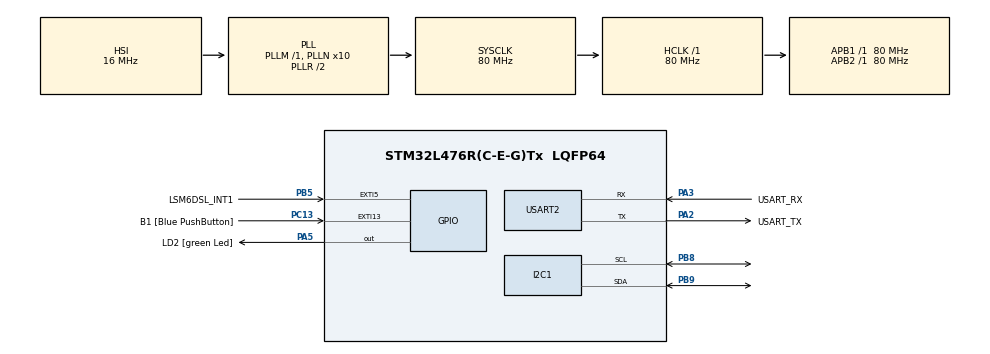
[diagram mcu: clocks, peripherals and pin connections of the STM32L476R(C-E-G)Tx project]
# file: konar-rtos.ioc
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FREERTOS.BinarySemaphores01=SemB1,Dynamic,NULL;SemDRDY,Dynamic,NULL
FREERTOS.Tasks01=blinkLD2,24,128,StartBlinkLD2,Default,NULL,Dynamic,NULL,NULL;printUART2,24,128,StartPrintUART2,Default,NULL,Dynamic,NULL,NULL;printB1,16,128,StartPrintB1,Default,NULL,Dynamic,NULL,NULL;myTask04,24,128,StartTask04,Default,NULL,Dynamic,NULL,NULL
FREERTOS.configUSE_DAEMON_TASK_STARTUP_HOOK=1
FREERTOS.configUSE_NEWLIB_REENTRANT=1
I2C1.Timing=0x10909CEC
Mcu.Family=STM32L4
Mcu.Name=STM32L476R(C-E-G)Tx
Mcu.Package=LQFP64
NVIC.EXTI15_10_IRQn=true\:5\:0\:false\:false\:true\:true\:true\:true\:true
NVIC.EXTI9_5_IRQn=true\:5\:0\:false\:false\:true\:true\:true\:true\:true
NVIC.I2C1_EV_IRQn=true\:5\:0\:false\:false\:true\:true\:true\:true\:true
NVIC.PriorityGroup=NVIC_PRIORITYGROUP_4
NVIC.TIM6_DAC_IRQn=true\:15\:0\:false\:false\:true\:false\:false\:true\:true
NVIC.TimeBase=TIM6_DAC_IRQn
NVIC.TimeBaseIP=TIM6
PA13\ (JTMS-SWDIO).GPIO_Label=TMS
PA13\ (JTMS-SWDIO).Mode=Serial_Wire
PA13\ (JTMS-SWDIO).Signal=SYS_JTMS-SWDIO
PA14\ (JTCK-SWCLK).GPIO_Label=TCK
PA14\ (JTCK-SWCLK).Mode=Serial_Wire
PA14\ (JTCK-SWCLK).Signal=SYS_JTCK-SWCLK
PA2.GPIO_Label=USART_TX
PA2.GPIO_Mode=GPIO_MODE_AF_PP
PA2.GPIO_PuPd=GPIO_NOPULL
PA2.GPIO_Speed=GPIO_SPEED_FREQ_VERY_HIGH
PA2.Mode=Asynchronous
PA2.Signal=USART2_TX
PA3.GPIO_Label=USART_RX
PA3.GPIO_Mode=GPIO_MODE_AF_PP
PA3.GPIO_PuPd=GPIO_NOPULL
PA3.GPIO_Speed=GPIO_SPEED_FREQ_VERY_HIGH
PA3.Mode=Asynchronous
PA3.Signal=USART2_RX
PA5.GPIO_Label=LD2 [green Led]
PA5.GPIO_ModeDefaultOutputPP=GPIO_MODE_OUTPUT_PP
PA5.GPIO_PuPd=GPIO_NOPULL
PA5.GPIO_Speed=GPIO_SPEED_FREQ_LOW
PA5.Signal=GPIO_Output
PB3\ (JTDO-TRACESWO).GPIO_Label=SWO
PB3\ (JTDO-TRACESWO).Signal=SYS_JTDO-SWO
PB5.GPIO_Label=LSM6DSL_INT1
PB5.Signal=GPXTI5
PB8.Mode=I2C
PB8.Signal=I2C1_SCL
PB9.Mode=I2C
PB9.Signal=I2C1_SDA
PC13.GPIO_Label=B1 [Blue PushButton]
PC13.GPIO_ModeDefaultEXTI=GPIO_MODE_IT_FALLING
PC13.GPIO_PuPd=GPIO_NOPULL
PC13.Signal=GPXTI13
PC14-OSC32_IN\ (PC14).Mode=LSE-External-Oscillator
PC14-OSC32_IN\ (PC14).Signal=RCC_OSC32_IN
PC15-OSC32_OUT\ (PC15).Mode=LSE-External-Oscillator
PC15-OSC32_OUT\ (PC15).Signal=RCC_OSC32_OUT
PH0-OSC_IN\ (PH0).Signal=RCC_OSC_IN
PH1-OSC_OUT\ (PH1).Signal=RCC_OSC_OUT
ProjectManager.HeapSize=0x200
ProjectManager.StackSize=0x400
ProjectManager.TargetToolchain=STM32CubeIDE
RCC.ADCFreq_Value=64000000
RCC.AHBFreq_Value=80000000
RCC.APB1Freq_Value=80000000
RCC.APB1TimFreq_Value=80000000
RCC.APB2Freq_Value=80000000
RCC.APB2TimFreq_Value=80000000
RCC.CortexFreq_Value=80000000
RCC.HCLKFreq_Value=80000000
RCC.HSE_VALUE=8000000
RCC.HSI_VALUE=16000000
RCC.MSI_VALUE=4000000
RCC.PLLN=10
RCC.PLLSourceVirtual=RCC_PLLSOURCE_HSI
RCC.PREFETCH_ENABLE=1
RCC.SYSCLKFreq_VALUE=80000000
RCC.SYSCLKSource=RCC_SYSCLKSOURCE_PLLCLK
RCC.USBFreq_Value=64000000
RCC.VCOOutputFreq_Value=160000000
USART2.VirtualMode-Asynchronous=VM_ASYNC
VP_FREERTOS_VS_CMSIS_V2.Mode=CMSIS_V2
VP_SYS_VS_tim6.Mode=TIM6
board=NUCLEO-L476RG

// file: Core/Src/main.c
/* USER CODE BEGIN Header */
/**
 ******************************************************************************
 * @file           : main.c
 * @brief          : Main program body
 ******************************************************************************
 * @attention
 *
 * Copyright (c) 2023 STMicroelectronics.
 * All rights reserved.
 *
 * This software is licensed under terms that can be found in the LICENSE file
 * in the root directory of this software component.
 * If no LICENSE file comes with this software, it is provided AS-IS.
 *
 ******************************************************************************
 */
/* USER CODE END Header */
#include "main.h"
#include "cmsis_os.h"

/* USER CODE BEGIN Includes */
#include <stdio.h>
#include <string.h>
#include "lsm6dsl_register_map.h"
/* USER CODE END Includes */

I2C_HandleTypeDef hi2c1;

UART_HandleTypeDef huart2;

/* Definitions for blinkLD2 */
osThreadId_t blinkLD2Handle;
const osThreadAttr_t blinkLD2_attributes = {
  .name = "blinkLD2",
  .stack_size = 128 * 4,
  .priority = (osPriority_t) osPriorityNormal,
};
/* Definitions for printUART2 */
osThreadId_t printUART2Handle;
const osThreadAttr_t printUART2_attributes = {
  .name = "printUART2",
  .stack_size = 128 * 4,
  .priority = (osPriority_t) osPriorityNormal,
};
/* Definitions for printB1 */
osThreadId_t printB1Handle;
const osThreadAttr_t printB1_attributes = {
  .name = "printB1",
  .stack_size = 128 * 4,
  .priority = (osPriority_t) osPriorityBelowNormal,
};
/* Definitions for myTask04 */
osThreadId_t myTask04Handle;
const osThreadAttr_t myTask04_attributes = {
  .name = "myTask04",
  .stack_size = 128 * 4,
  .priority = (osPriority_t) osPriorityNormal,
};
/* Definitions for SemB1 */
osSemaphoreId_t SemB1Handle;
const osSemaphoreAttr_t SemB1_attributes = {
  .name = "SemB1"
};
/* Definitions for SemDRDY */
osSemaphoreId_t SemDRDYHandle;
const osSemaphoreAttr_t SemDRDY_attributes = {
  .name = "SemDRDY"
};
/* USER CODE BEGIN PV */
const uint8_t lsm6dls_address = 0b11010110;
const uint8_t bttn_prssd_mssg[] = "BTTN PRSSD\r\n";

uint8_t acc_data[6] = { 0 };
int16_t acc_x = 0;
int16_t acc_y = 0;
int16_t acc_z = 0;

uint8_t sensor_str[17];
/* USER CODE END PV */

void SystemClock_Config(void);
static void MX_GPIO_Init(void);
static void MX_USART2_UART_Init(void);
static void MX_I2C1_Init(void);
void StartBlinkLD2(void *argument);
void StartPrintUART2(void *argument);
void StartPrintB1(void *argument);
void StartTask04(void *argument);

int main(void)
{

  /* MCU Configuration--------------------------------------------------------*/

  /* Reset of all peripherals, Initializes the Flash interface and the Systick. */
  HAL_Init();

  /* Configure the system clock */
  SystemClock_Config();

  /* Initialize all configured peripherals */
  MX_GPIO_Init();
  MX_USART2_UART_Init();
  MX_I2C1_Init();

  /* Init scheduler */
  osKernelInitialize();

  /* Create the semaphores(s) */
  /* creation of SemB1 */
  SemB1Handle = osSemaphoreNew(1, 1, &SemB1_attributes);

  /* creation of SemDRDY */
  SemDRDYHandle = osSemaphoreNew(1, 1, &SemDRDY_attributes);

  /* Create the thread(s) */
  /* creation of blinkLD2 */
  blinkLD2Handle = osThreadNew(StartBlinkLD2, NULL, &blinkLD2_attributes);

  /* creation of printUART2 */
  printUART2Handle = osThreadNew(StartPrintUART2, NULL, &printUART2_attributes);

  /* creation of printB1 */
  printB1Handle = osThreadNew(StartPrintB1, NULL, &printB1_attributes);

  /* creation of myTask04 */
  myTask04Handle = osThreadNew(StartTask04, NULL, &myTask04_attributes);

  /* Start scheduler */
  osKernelStart();
  /* We should never get here as control is now taken by the scheduler */
  /* Infinite loop */
	while (1) {

	}
}

void SystemClock_Config(void)
{
  RCC_OscInitTypeDef RCC_OscInitStruct = {0};
  RCC_ClkInitTypeDef RCC_ClkInitStruct = {0};

  /** Configure the main internal regulator output voltage
  */
  if (HAL_PWREx_ControlVoltageScaling(PWR_REGULATOR_VOLTAGE_SCALE1) != HAL_OK)
  {
    Error_Handler();
  }

  /** Initializes the RCC Oscillators according to the specified parameters
  * in the RCC_OscInitTypeDef structure.
  */
  RCC_OscInitStruct.OscillatorType = RCC_OSCILLATORTYPE_HSI;
  RCC_OscInitStruct.HSIState = RCC_HSI_ON;
  RCC_OscInitStruct.HSICalibrationValue = RCC_HSICALIBRATION_DEFAULT;
  RCC_OscInitStruct.PLL.PLLState = RCC_PLL_ON;
  RCC_OscInitStruct.PLL.PLLSource = RCC_PLLSOURCE_HSI;
  RCC_OscInitStruct.PLL.PLLM = 1;
  RCC_OscInitStruct.PLL.PLLN = 10;
  RCC_OscInitStruct.PLL.PLLP = RCC_PLLP_DIV7;
  RCC_OscInitStruct.PLL.PLLQ = RCC_PLLQ_DIV2;
  RCC_OscInitStruct.PLL.PLLR = RCC_PLLR_DIV2;
  if (HAL_RCC_OscConfig(&RCC_OscInitStruct) != HAL_OK)
  {
    Error_Handler();
  }

  /** Initializes the CPU, AHB and APB buses clocks
  */
  RCC_ClkInitStruct.ClockType = RCC_CLOCKTYPE_HCLK|RCC_CLOCKTYPE_SYSCLK
                              |RCC_CLOCKTYPE_PCLK1|RCC_CLOCKTYPE_PCLK2;
  RCC_ClkInitStruct.SYSCLKSource = RCC_SYSCLKSOURCE_PLLCLK;
  RCC_ClkInitStruct.AHBCLKDivider = RCC_SYSCLK_DIV1;
  RCC_ClkInitStruct.APB1CLKDivider = RCC_HCLK_DIV1;
  RCC_ClkInitStruct.APB2CLKDivider = RCC_HCLK_DIV1;

  if (HAL_RCC_ClockConfig(&RCC_ClkInitStruct, FLASH_LATENCY_4) != HAL_OK)
  {
    Error_Handler();
  }
}

static void MX_I2C1_Init(void)
{

  hi2c1.Instance = I2C1;
  hi2c1.Init.Timing = 0x10909CEC;
  hi2c1.Init.OwnAddress1 = 0;
  hi2c1.Init.AddressingMode = I2C_ADDRESSINGMODE_7BIT;
  hi2c1.Init.DualAddressMode = I2C_DUALADDRESS_DISABLE;
  hi2c1.Init.OwnAddress2 = 0;
  hi2c1.Init.OwnAddress2Masks = I2C_OA2_NOMASK;
  hi2c1.Init.GeneralCallMode = I2C_GENERALCALL_DISABLE;
  hi2c1.Init.NoStretchMode = I2C_NOSTRETCH_DISABLE;
  if (HAL_I2C_Init(&hi2c1) != HAL_OK)
  {
    Error_Handler();
  }

  /** Configure Analogue filter
  */
  if (HAL_I2CEx_ConfigAnalogFilter(&hi2c1, I2C_ANALOGFILTER_ENABLE) != HAL_OK)
  {
    Error_Handler();
  }

  /** Configure Digital filter
  */
  if (HAL_I2CEx_ConfigDigitalFilter(&hi2c1, 0) != HAL_OK)
  {
    Error_Handler();
  }

}

static void MX_USART2_UART_Init(void)
{

  huart2.Instance = USART2;
  huart2.Init.BaudRate = 115200;
  huart2.Init.WordLength = UART_WORDLENGTH_8B;
  huart2.Init.StopBits = UART_STOPBITS_1;
  huart2.Init.Parity = UART_PARITY_NONE;
  huart2.Init.Mode = UART_MODE_TX_RX;
  huart2.Init.HwFlowCtl = UART_HWCONTROL_NONE;
  huart2.Init.OverSampling = UART_OVERSAMPLING_16;
  huart2.Init.OneBitSampling = UART_ONE_BIT_SAMPLE_DISABLE;
  huart2.AdvancedInit.AdvFeatureInit = UART_ADVFEATURE_NO_INIT;
  if (HAL_UART_Init(&huart2) != HAL_OK)
  {
    Error_Handler();
  }

}

static void MX_GPIO_Init(void)
{
  GPIO_InitTypeDef GPIO_InitStruct = {0};

  /* GPIO Ports Clock Enable */
  __HAL_RCC_GPIOC_CLK_ENABLE();
  __HAL_RCC_GPIOH_CLK_ENABLE();
  __HAL_RCC_GPIOA_CLK_ENABLE();
  __HAL_RCC_GPIOB_CLK_ENABLE();

  /*Configure GPIO pin Output Level */
  HAL_GPIO_WritePin(LD2_GPIO_Port, LD2_Pin, GPIO_PIN_RESET);

  /*Configure GPIO pin : B1_Pin */
  GPIO_InitStruct.Pin = B1_Pin;
  GPIO_InitStruct.Mode = GPIO_MODE_IT_FALLING;
  GPIO_InitStruct.Pull = GPIO_NOPULL;
  HAL_GPIO_Init(B1_GPIO_Port, &GPIO_InitStruct);

  /*Configure GPIO pin : LD2_Pin */
  GPIO_InitStruct.Pin = LD2_Pin;
  GPIO_InitStruct.Mode = GPIO_MODE_OUTPUT_PP;
  GPIO_InitStruct.Pull = GPIO_NOPULL;
  GPIO_InitStruct.Speed = GPIO_SPEED_FREQ_LOW;
  HAL_GPIO_Init(LD2_GPIO_Port, &GPIO_InitStruct);

  /*Configure GPIO pin : LSM6DSL_INT1_Pin */
  GPIO_InitStruct.Pin = LSM6DSL_INT1_Pin;
  GPIO_InitStruct.Mode = GPIO_MODE_IT_RISING;
  GPIO_InitStruct.Pull = GPIO_NOPULL;
  HAL_GPIO_Init(LSM6DSL_INT1_GPIO_Port, &GPIO_InitStruct);

  /* EXTI interrupt init*/
  HAL_NVIC_SetPriority(EXTI9_5_IRQn, 5, 0);
  HAL_NVIC_EnableIRQ(EXTI9_5_IRQn);

  HAL_NVIC_SetPriority(EXTI15_10_IRQn, 5, 0);
  HAL_NVIC_EnableIRQ(EXTI15_10_IRQn);

}

/* USER CODE BEGIN 4 */
void HAL_GPIO_EXTI_Callback(uint16_t GPIO_Pin) {
	if (GPIO_Pin == B1_Pin) {
		osSemaphoreRelease(SemB1Handle);
	}
	if (GPIO_Pin == LSM6DSL_INT1_Pin) {
		osSemaphoreRelease(SemDRDYHandle);
	}
}
void vApplicationDaemonTaskStartupHook(void) {
	{	// CHECK SENSOR ADDRESS
		uint8_t real_chcksm = 0;
		uint8_t exp_chcksm = 0b01101010;	// WHO_AM_I value
		HAL_I2C_Mem_Read(&hi2c1, lsm6dls_address, LSM6DSL_WHO_AM_I, 1,
				&real_chcksm, 1, HAL_MAX_DELAY);

		if (real_chcksm == exp_chcksm) {
			HAL_GPIO_WritePin(LD2_GPIO_Port, LD2_Pin, GPIO_PIN_SET);
		}
	}
	{	// RESET SENSOR
		uint8_t reset = BOOT | SW_RESET;
		HAL_I2C_Mem_Write(&hi2c1, lsm6dls_address, LSM6DSL_CTRL3_C, 1, &reset,
				1, HAL_MAX_DELAY);
	}
	HAL_Delay(1);	// without delay sensor don't update values
	{	// SET XL OUTPUT RATE AND SCALE
		uint8_t output_rate_and_scale = F26H | G4;
		HAL_I2C_Mem_Write(&hi2c1, lsm6dls_address, LSM6DSL_CTRL1_XL, 1,
				&output_rate_and_scale, 1,
				HAL_MAX_DELAY);
	}
	{	// CONFIGURE INT1
		uint8_t int1_settings = INT1_DRDY_XL;
		HAL_I2C_Mem_Write(&hi2c1, lsm6dls_address, LSM6DSL_INT1_CTRL, 1,
				&int1_settings, 1,
				HAL_MAX_DELAY);
	}
}
/* USER CODE END 4 */

void StartBlinkLD2(void *argument)
{
  /* USER CODE BEGIN 5 */
	/* Infinite loop */
	for (;;) {
		/*
		 HAL_GPIO_TogglePin(LD2_GPIO_Port, LD2_Pin);
		 osDelay(77);	// 13Hz
		 */
		osSemaphoreAcquire(SemDRDYHandle, osWaitForever);
		HAL_I2C_Mem_Read(&hi2c1, lsm6dls_address, LSM6DSL_OUTX_L_XL, 1,
				acc_data, sizeof(acc_data), HAL_MAX_DELAY);
		acc_x = (int16_t) (acc_data[1] << 8 | acc_data[0]) * 1000
				/ (INT16_MAX / 4 + 1);	// hard coded to 0.000g format for G4
		acc_y = (int16_t) (acc_data[3] << 8 | acc_data[2]) * 1000
				/ (INT16_MAX / 4 + 1);// in order to change scaling change 4 to other max value of G
		acc_z = (int16_t) (acc_data[5] << 8 | acc_data[4]) * 1000
				/ (INT16_MAX / 4 + 1);
	}
  /* USER CODE END 5 */
}

void StartPrintUART2(void *argument)
{
  /* USER CODE BEGIN StartPrintUART2 */
	/* Infinite loop */
	for (;;) {
		snprintf((char*) sensor_str, sizeof(sensor_str), "%d %d %d\r\n", acc_x,
				acc_y, acc_z);
		HAL_UART_Transmit(&huart2, sensor_str, strlen((char*) sensor_str),
		HAL_MAX_DELAY);
		osDelay(91);	// 11Hz
	}
  /* USER CODE END StartPrintUART2 */
}

void StartPrintB1(void *argument)
{
  /* USER CODE BEGIN StartPrintB1 */
	/* Infinite loop */
	for (;;) {
		// duuno why but function executes on start
		// guess semaphore initialize with 1
		osSemaphoreAcquire(SemB1Handle, osWaitForever); // doesn't work with osSemaphoreWait
		HAL_UART_Transmit(&huart2, bttn_prssd_mssg,
				strlen((char*) bttn_prssd_mssg), HAL_MAX_DELAY);
	}
  /* USER CODE END StartPrintB1 */
}

void StartTask04(void *argument)
{
  /* USER CODE BEGIN StartTask04 */
	/* Infinite loop */
	for (;;) {
		HAL_GPIO_TogglePin(LD2_GPIO_Port, LD2_Pin);
		osDelay(38);	// 13Hz
	}
  /* USER CODE END StartTask04 */
}

void HAL_TIM_PeriodElapsedCallback(TIM_HandleTypeDef *htim)
{
  if (htim->Instance == TIM6) {
    HAL_IncTick();
  }
}

void Error_Handler(void)
{
	__disable_irq();
	while (1) {
	}
}
